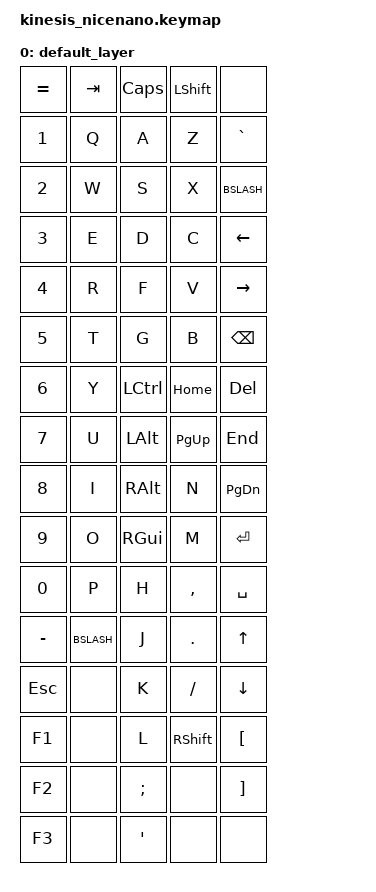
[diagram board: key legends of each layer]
#include <behaviors.dtsi>
#include <dt-bindings/zmk/keys.h>

/ {
    keymap {
        compatible = "zmk,keymap";
        default_layer {
            bindings = <
                &kp EQUAL      &kp TAB        &kp CAPS      &kp LSHFT      &none
                &kp N1         &kp Q          &kp A         &kp Z          &kp GRAVE
                &kp N2         &kp W          &kp S         &kp X          &kp BSLASH
                &kp N3         &kp E          &kp D         &kp C          &kp LEFT
                &kp N4         &kp R          &kp F         &kp V          &kp RIGHT
                &kp N5         &kp T          &kp G         &kp B          &kp BSPC
                &kp N6         &kp Y          &kp LCTRL     &kp HOME       &kp DEL
                &kp N7         &kp U          &kp LALT      &kp PG_UP      &kp END
                &kp N8         &kp I          &kp RALT      &kp N          &kp PG_DN
                &kp N9         &kp O          &kp RGUI      &kp M          &kp RET
                &kp N0         &kp P          &kp H         &kp COMMA      &kp SPACE
                &kp MINUS      &kp BSLASH     &kp J         &kp DOT        &kp UP
                &kp ESC          &none          &kp K         &kp SLASH      &kp DOWN
                &kp F1          &none          &kp L         &kp RSHFT      &kp LBKT
                &kp F2         &none          &kp SEMI      &none          &kp RBKT
                &kp F3         &none          &kp QUOT      &none          &none
            >;
        };
    };
};

#include <behaviors.dtsi>
#include <dt-bindings/zmk/keys.h>
